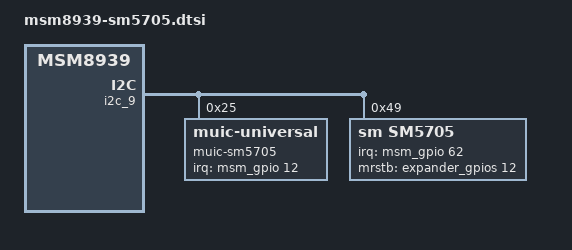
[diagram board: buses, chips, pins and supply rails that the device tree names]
/* Copyright (c) 2012, The Linux Foundation. All rights reserved.
 *
 * This program is free software; you can redistribute it and/or modify
 * it under the terms of the GNU General Public License version 2 and
 * only version 2 as published by the Free Software Foundation.
 *
 * This program is distributed in the hope that it will be useful,
 * but WITHOUT ANY WARRANTY; without even the implied warranty of
 * MERCHANTABILITY or FITNESS FOR A PARTICULAR PURPOSE.  See the
 * GNU General Public License for more details.
 */

&soc {
	i2c_9: i2c@9 {
		cell-index = <9>;
		compatible = "i2c-gpio";
		i2c-gpio-scl = <&msm_gpio 73 0x00>;
		i2c-gpio-sda = <&msm_gpio 72 0x00>;
		i2c-gpio,delay-us = <2>;
		#address-cells = <1>;
		#size-cells = <0>;

		muic-sm5705@25 {
			status = "okay";
			compatible = "muic-universal";
			reg = <0x25>;
			interrupt-parent = <&msm_gpio>;
			interrupts = <12 0>;
			muic-universal,irq-gpio = <&msm_gpio 12 0x00>;
			sm5705,wakeup;
			muic-universal,chip_name = "sm,sm5705";
			pinctrl-names = "muic_i2c_pins_default",
				"muic_i2c_pins_active",
				"muic_i2c_pins_suspend";
			pinctrl-0 = <&sm5705_i2c_default &sm5705_interrupt_default &ifc_sense_int_ap_default>;
			pinctrl-1 = <&sm5705_i2c_active &sm5705_interrupt_default &ifc_sense_int_ap_default>;
			pinctrl-2 = <&sm5705_i2c_suspend &sm5705_interrupt_default &ifc_sense_int_ap_default>;
		};

		sm5705@49{
			compatible = "sm,sm5705";
			reg = <0x49>;
			interrupt-parent = <&msm_gpio>;
			sm5705,irq-gpio = <&msm_gpio 62 0x00>;
			pinctrl-names = "default";
			pinctrl-0 = <&charger_int_active>;
			sm5705,mrstb-gpio = <&expander_gpios 12 0x00>;
/*
			sm5705_charger {
				compatible = "siliconmitus,sm5705-charger";
				chg_autostop = <0>;
				chg_autoset = <1>;
				chg_aiclen = <1>;
				chg_aiclth = <4300>;
				fg_vol_val = <4350>;
				fg_soc_val = <95>;
				fg_curr_avr_val = <150>;
			};
*/

			sm5705_fled {
				compatible = "siliconmitus,sm5705-fled";
				enable = <1 1>;
				id = <0>;
				flash-mode-current-mA = <1200>;
				torch-mode-current-mA = <150>;
				used-gpio-control = <1>;
				flash-en-gpio = <&msm_gpio 100 0x00>;
				torch-en-gpio = <&msm_gpio 108 0x00>;
			};
		};

	};
};

/ {
	muic {
		status = "okay";
		muic,support-list = "+OTG:GND",
					"-MHL:1K",
					"-VZW Accessory:28.7K",
					"-VZW Incompatible:34K",
					"-Smartdock:40.2K",
					"-HMT:49.9K",
					"-Audiodock:64.9K",
					"+USB LANHUB:80.07K",
					"+Charging Cable:102K",
					"-Universal Multimedia dock:121K",
					"+Jig USB Off:255K",
					"+Jig USB On:301K",
					"+Deskdock:365K",
					"+TYPE2 Charger:442K",
					"+Jig UART Off:523K",
					"+Jig UART On:619K",
					"+TA:OPEN",
					"+USB:OPEN",
					"+CDP:OPEN",
					"+Undefined Charging:XXX";
	};
};

